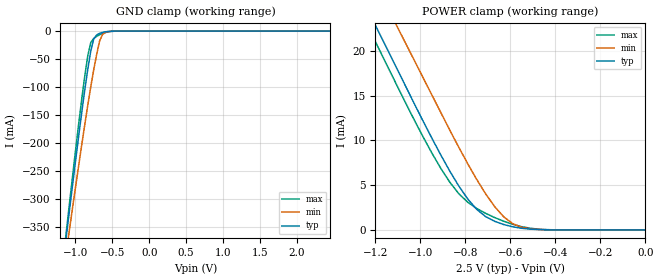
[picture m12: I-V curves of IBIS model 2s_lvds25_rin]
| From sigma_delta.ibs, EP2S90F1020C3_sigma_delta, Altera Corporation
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[Model] 2s_lvds25_rin
Model_type Input
Vinl  = 1.0
Vinh  = 1.4
C_comp  3.30pF  NA  NA
[Temperature Range]  25   NA   NA
[Voltage Range]   2.5   NA   NA
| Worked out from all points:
|   GND clamp passes 1 mA (typ) near -0.58 V on its own axis
|   POWER clamp passes 1 mA (typ) near -0.67 V on its own axis
[GND_Clamp]
| voltage   I(typ)   I(min)   I(max)
-2.5V     -1.931A    -1.729A    -2.049A
-1.15V    -399.1mA   -422mA     -393.3mA
-1.11V    -355.2mA   -384.5mA   -345.9mA
-1.07V    -311.7mA   -347.3mA   -298.9mA
-910mV    -143.2mA   -201.4mA   -119.2mA
-830mV    -67.94mA   -132.1mA   -43.69mA
-790mV    -35.68mA   -99.48mA   -20.62mA
-750mV    -13.96mA   -68.98mA   -13.19mA
-670mV    -3.963mA   -17.43mA   -6.509mA
-630mV    -2.256mA   -5.977mA   -4.208mA
-510mV    -258.5uA   -326.1uA   -611.6uA
2.45V     9.455nA    13.96nA    9.524nA
[POWER_Clamp]
| voltage   I(typ)   I(min)   I(max)
-2.5V     88.61mA    91.85mA    87.39mA
-1.3V     27.89mA    32.42mA    26.11mA
-1.15V    20.3mA     25mA       18.45mA
-1.11V    18.28mA    23.02mA    16.41mA
-1.07V    16.25mA    21.04mA    14.38mA
-950mV    10.28mA    15.11mA    8.62mA
-870mV    6.586mA    11.16mA    5.345mA
-750mV    2.3mA      5.643mA    2.398mA
-630mV    606.7uA    1.469mA    974.3uA
-590mV    355.9uA    709.1uA    631.4uA
-510mV    88.01uA    122.1uA    184uA
0V        0A         0A         0A
